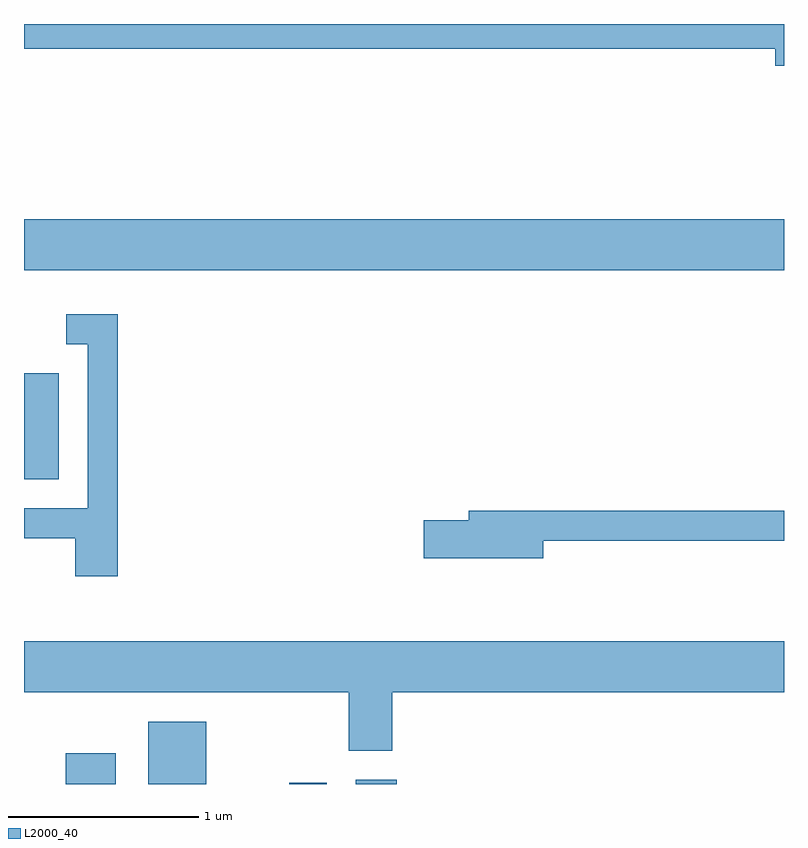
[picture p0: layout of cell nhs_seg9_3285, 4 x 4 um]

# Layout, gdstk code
import gdstk
lib = gdstk.Library(unit=1e-6, precision=1e-09)
def R(c, l, rs):  # rectangles x0, y0, x1, y1
    for r in rs: c.add(gdstk.rectangle(r[:2], r[2:], *l))
def P(c, l, *ps):  # polygons
    for p in ps: c.add(gdstk.Polygon(p, *l))
L2000_40 = (2000, 40)

nhs_seg9_3285 = lib.new_cell('nhs_seg9_3285')
R(nhs_seg9_3285, L2000_40, [(281.831,2002.432,282.094,2002.594), (282.266,2002.432,282.569,2002.759), (283.006,2002.432,283.204,2002.439), (283.356,2002.432,283.574,2002.454), (281.611,2004.036,281.794,2004.594), (281.611,2005.136,285.611,2005.404)])
P(nhs_seg9_3285, L2000_40, [(285.611,2006.432),(281.611,2006.432),(281.611,2006.301),(285.566,2006.301),(285.566,2006.211),(285.611,2006.211)],
  [(282.104,2004.904),(281.833,2004.904),(281.833,2004.746),(281.946,2004.746),(281.946,2003.884),(281.611,2003.884),(281.611,2003.726),(281.881,2003.726),(281.881,2003.526),(282.104,2003.526)],
  [(284.344,2003.711),(285.611,2003.711),(285.611,2003.869),(283.951,2003.869),(283.951,2003.819),(283.716,2003.819),(283.716,2003.621),(284.344,2003.621)],
  [(283.549,2002.916),(285.611,2002.916),(285.611,2003.184),(281.611,2003.184),(281.611,2002.916),(283.321,2002.916),(283.321,2002.606),(283.549,2002.606)])

lib.write_gds('nhs_seg9_3285.gds')
